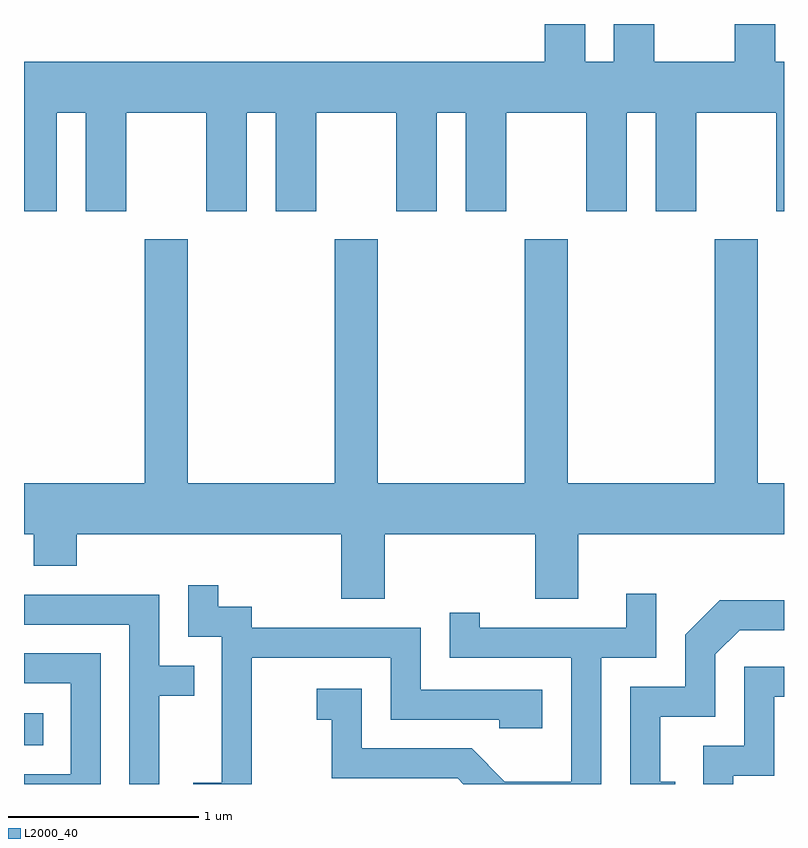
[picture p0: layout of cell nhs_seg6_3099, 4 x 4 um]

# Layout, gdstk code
import gdstk
lib = gdstk.Library(unit=1e-6, precision=1e-09)
def R(c, l, rs):  # rectangles x0, y0, x1, y1
    for r in rs: c.add(gdstk.rectangle(r[:2], r[2:], *l))
def P(c, l, *ps):  # polygons
    for p in ps: c.add(gdstk.Polygon(p, *l))
L2000_40 = (2000, 40)

nhs_seg6_3099 = lib.new_cell('nhs_seg6_3099')
R(nhs_seg6_3099, L2000_40, [(277.611,1664.366,277.713,1664.534)])
P(nhs_seg6_3099, L2000_40, [(277.784,1667.696),(277.936,1667.696),(277.936,1667.176),(278.149,1667.176),(278.149,1667.696),(278.571,1667.696),(278.571,1667.176),(278.784,1667.176),(278.784,1667.696),(278.936,1667.696),(278.936,1667.176),(279.149,1667.176),(279.149,1667.696),(279.571,1667.696),(279.571,1667.176),(279.784,1667.176),(279.784,1667.696),(279.936,1667.696),(279.936,1667.176),(280.149,1667.176),(280.149,1667.696),(280.571,1667.696),(280.571,1667.176),(280.784,1667.176),(280.784,1667.696),(280.936,1667.696),(280.936,1667.176),(281.149,1667.176),(281.149,1667.696),(281.571,1667.696),(281.571,1667.176),(281.611,1667.176),(281.611,1667.964),(281.564,1667.964),(281.564,1668.162),(281.351,1668.162),(281.351,1667.964),(280.929,1667.964),(280.929,1668.162),(280.716,1668.162),(280.716,1667.964),(280.564,1667.964),(280.564,1668.162),(280.351,1668.162),(280.351,1667.964),(277.611,1667.964),(277.611,1667.176),(277.784,1667.176)],
  [(277.611,1665.476),(277.661,1665.476),(277.661,1665.311),(277.889,1665.311),(277.889,1665.476),(279.281,1665.476),(279.281,1665.136),(279.509,1665.136),(279.509,1665.476),(280.301,1665.476),(280.301,1665.136),(280.529,1665.136),(280.529,1665.476),(281.611,1665.476),(281.611,1665.744),(281.474,1665.744),(281.474,1667.029),(281.246,1667.029),(281.246,1665.744),(280.474,1665.744),(280.474,1667.029),(280.246,1667.029),(280.246,1665.744),(279.474,1665.744),(279.474,1667.029),(279.246,1667.029),(279.246,1665.744),(278.474,1665.744),(278.474,1667.029),(278.246,1667.029),(278.246,1665.744),(277.611,1665.744)],
  [(278.809,1664.826),(279.541,1664.826),(279.541,1664.501),(280.111,1664.501),(280.111,1664.456),(280.339,1664.456),(280.339,1664.659),(279.699,1664.659),(279.699,1664.984),(278.809,1664.984),(278.809,1665.094),(278.634,1665.094),(278.634,1665.208),(278.476,1665.208),(278.476,1664.936),(278.651,1664.936),(278.651,1664.169),(278.501,1664.169),(278.501,1664.162),(278.809,1664.162)],
  [(280.649,1664.826),(280.939,1664.826),(280.939,1665.163),(280.781,1665.163),(280.781,1664.984),(280.009,1664.984),(280.009,1665.063),(279.851,1665.063),(279.851,1664.826),(280.491,1664.826),(280.491,1664.174),(280.142,1664.174),(279.967,1664.349),(279.389,1664.349),(279.389,1664.664),(279.153,1664.664),(279.153,1664.501),(279.231,1664.501),(279.231,1664.191),(279.894,1664.191),(279.923,1664.162),(280.649,1664.162)],
  [(278.324,1664.626),(278.508,1664.626),(278.508,1664.784),(278.324,1664.784),(278.324,1665.159),(277.611,1665.159),(277.611,1665.001),(278.166,1665.001),(278.166,1664.162),(278.324,1664.162)],
  [(281.038,1664.174),(280.959,1664.174),(280.959,1664.516),(281.249,1664.516),(281.249,1664.844),(281.377,1664.971),(281.611,1664.971),(281.611,1665.129),(281.274,1665.129),(281.091,1664.947),(281.091,1664.674),(280.801,1664.674),(280.801,1664.162),(281.038,1664.162)],
  [(278.014,1664.849),(277.611,1664.849),(277.611,1664.691),(277.856,1664.691),(277.856,1664.214),(277.611,1664.214),(277.611,1664.162),(278.014,1664.162)],
  [(281.344,1664.206),(281.559,1664.206),(281.559,1664.621),(281.611,1664.621),(281.611,1664.779),(281.401,1664.779),(281.401,1664.364),(281.186,1664.364),(281.186,1664.162),(281.344,1664.162)])

lib.write_gds('nhs_seg6_3099.gds')
